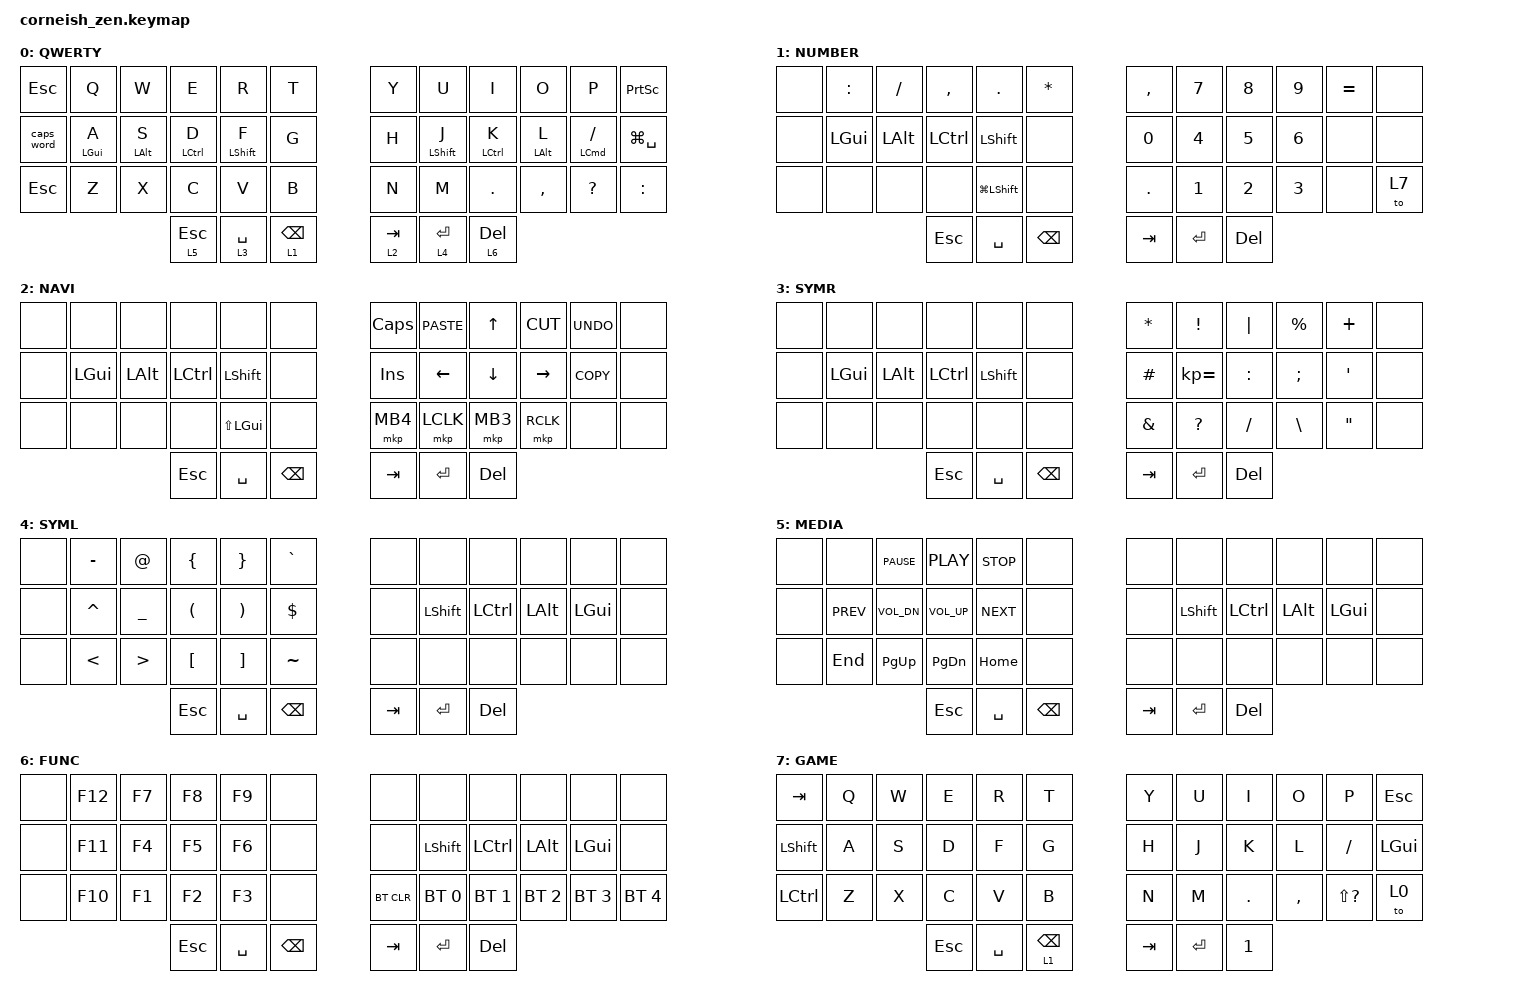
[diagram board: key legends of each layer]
/*
*
* Copyright (c) 2021 Darryl deHaan
* SPDX-License-Identifier: MIT
*
*/

#include <dt-bindings/zmk/mouse.h>
#include <behaviors.dtsi>
#include <dt-bindings/zmk/bt.h>
#include <dt-bindings/zmk/keys.h>
#include <dt-bindings/zmk/pointing.h>

/ {
    chosen {
        zmk,matrix_transform = &default_transform;

        // zmk,matrix_transform = &five_column_transform;
    };
};

/ {
    behaviors {
        // Home row mod left: hold triggers only on right-hand keys
        hml: home_row_mod_left {
            compatible = "zmk,behavior-hold-tap";
            #binding-cells = <2>;
            tapping-term-ms = <280>;
            quick-tap-ms = <175>;
            require-prior-idle-ms = <125>;
            flavor = "balanced";
            hold-trigger-on-release;
            hold-trigger-key-positions = <6 7 8 9 10 11 18 19 20 21 22 23 30 31 32 33 34 35 39 40 41>;
            bindings = <&kp>, <&kp>;
        };

        // Home row mod right: hold triggers only on left-hand keys
        hmr: home_row_mod_right {
            compatible = "zmk,behavior-hold-tap";
            #binding-cells = <2>;
            tapping-term-ms = <280>;
            quick-tap-ms = <175>;
            require-prior-idle-ms = <125>;
            flavor = "balanced";
            hold-trigger-on-release;
            hold-trigger-key-positions = <0 1 2 3 4 5 12 13 14 15 16 17 24 25 26 27 28 29 36 37 38>;
            bindings = <&kp>, <&kp>;
        };
    };
};

/ {
    keymap {
        compatible = "zmk,keymap";

        QWERTY {
            label = "QWERTY";
            display-name = "QWERTY";
            bindings = <
&kp ESCAPE  &kp Q           &kp W       &kp E         &kp R        &kp T              &kp Y      &kp U        &kp I        &kp O           &kp P           &kp PRINTSCREEN
&caps_word  &hml LEFT_GUI A  &hml LALT S  &hml LCTRL D   &hml LSHFT F  &kp G              &kp H      &hmr LSHFT J  &hmr LCTRL K  &hmr LEFT_ALT L  &hmr LCMD SLASH  &kp LG(SPACE)
&kp ESCAPE  &kp Z           &kp X       &kp C         &kp V        &kp B              &kp N      &kp M        &kp DOT      &kp COMMA       &kp QUESTION    &kp COLON
                                        &lt 5 ESCAPE  &lt 3 SPACE  &lt 1 BACKSPACE    &lt 2 TAB  &lt 4 ENTER  &lt 6 DEL
            >;
        };

        NUM {
            label = "NUMP";
            display-name = "NUMBER";
            bindings = <
&none  &kp COLON  &kp SLASH  &kp COMMA   &kp DOT        &kp ASTRK        &kp COMMA  &kp N7     &kp N8   &kp N9  &kp EQUAL  &none
&none  &kp LGUI   &kp LALT   &kp LCTRL   &kp LSHFT      &none            &kp N0     &kp N4     &kp N5   &kp N6  &none      &none
&none  &none      &none      &none       &kp LG(LSHFT)  &none            &kp DOT    &kp N1     &kp N2   &kp N3  &none      &to 7
                             &kp ESCAPE  &kp SPACE      &kp BACKSPACE    &kp TAB    &kp ENTER  &kp DEL
            >;
        };

        NAV {
            label = "NAVI";
            display-name = "NAVI";
            bindings = <
&none  &none     &none     &none       &none             &none            &kp CAPSLOCK  &kp K_PASTE  &kp UP_ARROW  &kp K_CUT  &kp K_UNDO  &none
&none  &kp LGUI  &kp LALT  &kp LCTRL   &kp LSHFT         &none            &kp INS       &kp LEFT     &kp DOWN      &kp RIGHT  &kp K_COPY  &none
&none  &none     &none     &none       &kp LS(LEFT_GUI)  &none            &mkp MB4      &mkp LCLK    &mkp MB3      &mkp RCLK  &none       &none
                           &kp ESCAPE  &kp SPACE         &kp BACKSPACE    &kp TAB       &kp ENTER    &kp DEL
            >;
        };

        SYMR {
            label = "SYMR";
            display-name = "SYMR";
            bindings = <
&none  &none     &none     &none       &none      &none            &kp STAR  &kp EXCL      &kp PIPE   &kp PERCENT    &kp PLUS           &none
&none  &kp LGUI  &kp LALT  &kp LCTRL   &kp LSHFT  &none            &kp HASH  &kp KP_EQUAL  &kp COLON  &kp SEMICOLON  &kp APOS           &none
&none  &none     &none     &none       &none      &none            &kp AMPS  &kp QUESTION  &kp SLASH  &kp BACKSLASH  &kp DOUBLE_QUOTES  &none
                           &kp ESCAPE  &kp SPACE  &kp BACKSPACE    &kp TAB   &kp ENTER     &kp DEL
            >;
        };

        SYML {
            label = "SYML";
            bindings = <
&none  &kp MINUS      &kp AT            &kp LEFT_BRACE        &kp RIGHT_BRACE        &kp GRAVE        &none    &none      &none      &none     &none     &none
&none  &kp CARET      &kp UNDERSCORE    &kp LEFT_PARENTHESIS  &kp RIGHT_PARENTHESIS  &kp DOLLAR       &none    &kp LSHFT  &kp LCTRL  &kp LALT  &kp LGUI  &none
&none  &kp LESS_THAN  &kp GREATER_THAN  &kp LEFT_BRACKET      &kp RIGHT_BRACKET      &kp TILDE        &none    &none      &none      &none     &none     &none
                                        &kp ESCAPE            &kp SPACE              &kp BACKSPACE    &kp TAB  &kp ENTER  &kp DEL
            >;
        };

        MEDIA {
            label = "MEDIA";
            bindings = <
&none  &none       &kp C_PAUSE   &kp C_PLAY     &kp C_STOP  &none            &none    &none      &none      &none     &none     &none
&none  &kp C_PREV  &kp C_VOL_DN  &kp C_VOL_UP   &kp C_NEXT  &none            &none    &kp LSHFT  &kp LCTRL  &kp LALT  &kp LGUI  &none
&none  &kp END     &kp PG_UP     &kp PAGE_DOWN  &kp HOME    &none            &none    &none      &none      &none     &none     &none
                                 &kp ESCAPE     &kp SPACE   &kp BACKSPACE    &kp TAB  &kp ENTER  &kp DEL
            >;
        };

        FUNC {
            label = "FUNC";
            bindings = <
&none  &kp F12  &kp F7  &kp F8      &kp F9     &none            &none       &none         &none         &none         &none         &none
&none  &kp F11  &kp F4  &kp F5      &kp F6     &none            &none       &kp LSHFT     &kp LCTRL     &kp LALT      &kp LGUI      &none
&none  &kp F10  &kp F1  &kp F2      &kp F3     &none            &bt BT_CLR  &bt BT_SEL 0  &bt BT_SEL 1  &bt BT_SEL 2  &bt BT_SEL 3  &bt BT_SEL 4
                        &kp ESCAPE  &kp SPACE  &kp BACKSPACE    &kp TAB     &kp ENTER     &kp DEL
            >;
        };

        GAME {
            label = "GAME";
            bindings = <
&kp TAB           &kp Q  &kp W  &kp E    &kp R      &kp T              &kp Y    &kp U    &kp I         &kp O      &kp P          &kp ESCAPE
&kp LEFT_SHIFT    &kp A  &kp S  &kp D    &kp F      &kp G              &kp H    &kp J    &kp K         &kp L      &kp FSLH       &kp LEFT_GUI
&kp LEFT_CONTROL  &kp Z  &kp X  &kp C    &kp V      &kp B              &kp N    &kp M    &kp DOT       &kp COMMA  &kp LS(QMARK)  &to 0
                                &kp ESC  &kp SPACE  &lt 1 BACKSPACE    &kp TAB  &kp RET  &kp NUMBER_1
            >;
        };
    };
};
